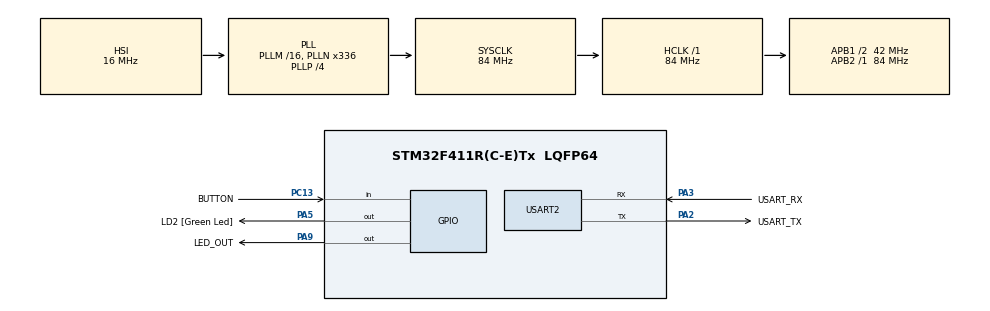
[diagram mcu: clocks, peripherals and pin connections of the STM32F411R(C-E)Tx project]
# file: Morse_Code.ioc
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FREERTOS.BinarySemaphores01=BinSem,Dynamic,NULL
FREERTOS.Queues01=queue1,16,uint16_t,0,Dynamic,NULL,NULL;queue2_1,16,uint16_t,0,Dynamic,NULL,NULL;queue2_2,16,uint16_t,0,Dynamic,NULL,NULL
FREERTOS.Tasks01=task1,24,128,StartTask1,Default,NULL,Dynamic,NULL,NULL;task2,24,128,StartTask2,Default,NULL,Dynamic,NULL,NULL;task3,24,128,StartTask3,Default,NULL,Dynamic,NULL,NULL;task4,24,128,StartTask4,Default,NULL,Dynamic,NULL,NULL
Mcu.Family=STM32F4
Mcu.Name=STM32F411R(C-E)Tx
Mcu.Package=LQFP64
NVIC.PriorityGroup=NVIC_PRIORITYGROUP_4
NVIC.TIM5_IRQn=true\:15\:0\:false\:false\:true\:false\:false\:true\:true
NVIC.TimeBase=TIM5_IRQn
NVIC.TimeBaseIP=TIM5
PA13.GPIO_Label=TMS
PA13.Mode=Serial_Wire
PA13.Signal=SYS_JTMS-SWDIO
PA14.GPIO_Label=TCK
PA14.Mode=Serial_Wire
PA14.Signal=SYS_JTCK-SWCLK
PA2.GPIO_Label=USART_TX
PA2.Mode=Asynchronous
PA2.Signal=USART2_TX
PA3.GPIO_Label=USART_RX
PA3.Mode=Asynchronous
PA3.Signal=USART2_RX
PA5.GPIO_Label=LD2 [Green Led]
PA5.Signal=GPIO_Output
PA9.GPIO_Label=LED_OUT
PA9.Signal=GPIO_Output
PB3.GPIO_Label=SWO
PB3.Signal=SYS_JTDO-SWO
PC13-ANTI_TAMP.GPIO_Label=BUTTON
PC13-ANTI_TAMP.Signal=GPIO_Input
PC14-OSC32_IN.Mode=LSE-External-Oscillator
PC14-OSC32_IN.Signal=RCC_OSC32_IN
PC15-OSC32_OUT.Mode=LSE-External-Oscillator
PC15-OSC32_OUT.Signal=RCC_OSC32_OUT
PH0\ -\ OSC_IN.Mode=HSE-External-Clock-Source
PH0\ -\ OSC_IN.Signal=RCC_OSC_IN
PH1\ -\ OSC_OUT.Mode=HSE-External-Clock-Source
PH1\ -\ OSC_OUT.Signal=RCC_OSC_OUT
ProjectManager.HeapSize=0x200
ProjectManager.StackSize=0x400
ProjectManager.TargetToolchain=STM32CubeIDE
RCC.48MHZClocksFreq_Value=84000000
RCC.AHBFreq_Value=84000000
RCC.APB1CLKDivider=RCC_HCLK_DIV2
RCC.APB1Freq_Value=42000000
RCC.APB1TimFreq_Value=84000000
RCC.APB2Freq_Value=84000000
RCC.APB2TimFreq_Value=84000000
RCC.CortexFreq_Value=84000000
RCC.FLatency-AdvancedSettings=FLASH_LATENCY_2
RCC.HCLKFreq_Value=84000000
RCC.HSE_VALUE=8000000
RCC.HSI_VALUE=16000000
RCC.PLLN=336
RCC.PLLP=RCC_PLLP_DIV4
RCC.SYSCLKFreq_VALUE=84000000
RCC.SYSCLKSource=RCC_SYSCLKSOURCE_PLLCLK
RCC.VCOOutputFreq_Value=336000000
USART2.VirtualMode=VM_ASYNC
VP_FREERTOS_VS_CMSIS_V2.Mode=CMSIS_V2
VP_SYS_VS_tim5.Mode=TIM5
board=NUCLEO-F411RE

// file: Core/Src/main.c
/* USER CODE BEGIN Header */
/**
  ******************************************************************************
  * @file           : main.c
  * @brief          : Main program body
  ******************************************************************************
  * @attention
  *
  * Copyright (c) 2023 STMicroelectronics.
  * All rights reserved.
  *
  * This software is licensed under terms that can be found in the LICENSE file
  * in the root directory of this software component.
  * If no LICENSE file comes with this software, it is provided AS-IS.
  *
  ******************************************************************************
  */
/* USER CODE END Header */
#include "main.h"
#include "cmsis_os.h"

/* USER CODE BEGIN PD */
#define ARRLENGTH		5
#define SIG_DOT 		1000
#define SIG_DASH 		3000
#define SAME_LETTER		1000
#define LETTER_SPACE 	3000
#define SPACE_CHAR		7000
/* USER CODE END PD */

UART_HandleTypeDef huart2;

/* Definitions for task1 */
osThreadId_t task1Handle;
const osThreadAttr_t task1_attributes = {
  .name = "task1",
  .stack_size = 128 * 4,
  .priority = (osPriority_t) osPriorityNormal,
};
/* Definitions for task2 */
osThreadId_t task2Handle;
const osThreadAttr_t task2_attributes = {
  .name = "task2",
  .stack_size = 128 * 4,
  .priority = (osPriority_t) osPriorityNormal,
};
/* Definitions for task3 */
osThreadId_t task3Handle;
const osThreadAttr_t task3_attributes = {
  .name = "task3",
  .stack_size = 128 * 4,
  .priority = (osPriority_t) osPriorityNormal,
};
/* Definitions for task4 */
osThreadId_t task4Handle;
const osThreadAttr_t task4_attributes = {
  .name = "task4",
  .stack_size = 128 * 4,
  .priority = (osPriority_t) osPriorityNormal,
};
/* Definitions for queue1 */
osMessageQueueId_t queue1Handle;
const osMessageQueueAttr_t queue1_attributes = {
  .name = "queue1"
};
/* Definitions for queue2_1 */
osMessageQueueId_t queue2_1Handle;
const osMessageQueueAttr_t queue2_1_attributes = {
  .name = "queue2_1"
};
/* Definitions for queue2_2 */
osMessageQueueId_t queue2_2Handle;
const osMessageQueueAttr_t queue2_2_attributes = {
  .name = "queue2_2"
};
/* Definitions for BinSem */
osSemaphoreId_t BinSemHandle;
const osSemaphoreAttr_t BinSem_attributes = {
  .name = "BinSem"
};

void SystemClock_Config(void);
static void MX_GPIO_Init(void);
static void MX_USART2_UART_Init(void);
void StartTask1(void *argument);
void StartTask2(void *argument);
void StartTask3(void *argument);
void StartTask4(void *argument);

/* USER CODE BEGIN 0 */
typedef struct {
    char morse[ARRLENGTH];
    char character;
} Morse;

static const Morse morseTable[] = {
    { ".-", 	'A' },
    { "-...", 	'B' },
    { "-.-.", 	'C' },
    { "-..", 	'D' },
    { ".", 		'E' },
    { "..-.", 	'F' },
    { "--.", 	'G' },
    { "....", 	'H' },
    { "..", 	'I' },
    { ".---", 	'J' },
    { "-.-", 	'K' },
    { ".-..", 	'L' },
    { "--", 	'M' },
    { "-.", 	'N' },
    { "---", 	'O' },
    { ".--.", 	'P' },
    { "--.-", 	'Q' },
    { ".-.", 	'R' },
    { "...", 	'S' },
    { "-", 		'T' },
    { "..-", 	'U' },
    { "...-", 	'V' },
    { ".--", 	'W' },
    { "-..-", 	'X' },
    { "-.--", 	'Y' },
    { "--..", 	'Z' },
};

typedef enum {
	DOT,
	DASH,
	SPACE,
	FINISH,
	EMPTY
} Code;
/* USER CODE END 0 */

int main(void)
{

  /* MCU Configuration--------------------------------------------------------*/

  /* Reset of all peripherals, Initializes the Flash interface and the Systick. */
  HAL_Init();

  /* Configure the system clock */
  SystemClock_Config();

  /* Initialize all configured peripherals */
  MX_GPIO_Init();
  MX_USART2_UART_Init();

  /* Init scheduler */
  osKernelInitialize();

  /* Create the semaphores(s) */
  /* creation of BinSem */
  BinSemHandle = osSemaphoreNew(1, 1, &BinSem_attributes);
  osSemaphoreAcquire(BinSemHandle, osWaitForever);

  /* Create the queue(s) */
  /* creation of queue1 */
  queue1Handle = osMessageQueueNew (16, sizeof(uint16_t), &queue1_attributes);

  /* creation of queue2_1 */
  queue2_1Handle = osMessageQueueNew (16, sizeof(uint16_t), &queue2_1_attributes);

  /* creation of queue2_2 */
  queue2_2Handle = osMessageQueueNew (16, sizeof(uint16_t), &queue2_2_attributes);

  /* Create the thread(s) */
  /* creation of task1 */
  task1Handle = osThreadNew(StartTask1, NULL, &task1_attributes);

  /* creation of task2 */
  task2Handle = osThreadNew(StartTask2, NULL, &task2_attributes);

  /* creation of task3 */
  task3Handle = osThreadNew(StartTask3, NULL, &task3_attributes);

  /* creation of task4 */
  task4Handle = osThreadNew(StartTask4, NULL, &task4_attributes);

  /* Start scheduler */
  osKernelStart();
  /* We should never get here as control is now taken by the scheduler */
  /* Infinite loop */
  while (1)
  {

  }
}

void SystemClock_Config(void)
{
  RCC_OscInitTypeDef RCC_OscInitStruct = {0};
  RCC_ClkInitTypeDef RCC_ClkInitStruct = {0};

  /** Configure the main internal regulator output voltage
  */
  __HAL_RCC_PWR_CLK_ENABLE();
  __HAL_PWR_VOLTAGESCALING_CONFIG(PWR_REGULATOR_VOLTAGE_SCALE1);

  /** Initializes the RCC Oscillators according to the specified parameters
  * in the RCC_OscInitTypeDef structure.
  */
  RCC_OscInitStruct.OscillatorType = RCC_OSCILLATORTYPE_HSI;
  RCC_OscInitStruct.HSIState = RCC_HSI_ON;
  RCC_OscInitStruct.HSICalibrationValue = RCC_HSICALIBRATION_DEFAULT;
  RCC_OscInitStruct.PLL.PLLState = RCC_PLL_ON;
  RCC_OscInitStruct.PLL.PLLSource = RCC_PLLSOURCE_HSI;
  RCC_OscInitStruct.PLL.PLLM = 16;
  RCC_OscInitStruct.PLL.PLLN = 336;
  RCC_OscInitStruct.PLL.PLLP = RCC_PLLP_DIV4;
  RCC_OscInitStruct.PLL.PLLQ = 4;
  if (HAL_RCC_OscConfig(&RCC_OscInitStruct) != HAL_OK)
  {
    Error_Handler();
  }

  /** Initializes the CPU, AHB and APB buses clocks
  */
  RCC_ClkInitStruct.ClockType = RCC_CLOCKTYPE_HCLK|RCC_CLOCKTYPE_SYSCLK
                              |RCC_CLOCKTYPE_PCLK1|RCC_CLOCKTYPE_PCLK2;
  RCC_ClkInitStruct.SYSCLKSource = RCC_SYSCLKSOURCE_PLLCLK;
  RCC_ClkInitStruct.AHBCLKDivider = RCC_SYSCLK_DIV1;
  RCC_ClkInitStruct.APB1CLKDivider = RCC_HCLK_DIV2;
  RCC_ClkInitStruct.APB2CLKDivider = RCC_HCLK_DIV1;

  if (HAL_RCC_ClockConfig(&RCC_ClkInitStruct, FLASH_LATENCY_2) != HAL_OK)
  {
    Error_Handler();
  }
}

static void MX_USART2_UART_Init(void)
{

  huart2.Instance = USART2;
  huart2.Init.BaudRate = 115200;
  huart2.Init.WordLength = UART_WORDLENGTH_8B;
  huart2.Init.StopBits = UART_STOPBITS_1;
  huart2.Init.Parity = UART_PARITY_NONE;
  huart2.Init.Mode = UART_MODE_TX_RX;
  huart2.Init.HwFlowCtl = UART_HWCONTROL_NONE;
  huart2.Init.OverSampling = UART_OVERSAMPLING_16;
  if (HAL_UART_Init(&huart2) != HAL_OK)
  {
    Error_Handler();
  }

}

static void MX_GPIO_Init(void)
{
  GPIO_InitTypeDef GPIO_InitStruct = {0};

  /* GPIO Ports Clock Enable */
  __HAL_RCC_GPIOC_CLK_ENABLE();
  __HAL_RCC_GPIOH_CLK_ENABLE();
  __HAL_RCC_GPIOA_CLK_ENABLE();
  __HAL_RCC_GPIOB_CLK_ENABLE();

  /*Configure GPIO pin Output Level */
  HAL_GPIO_WritePin(GPIOA, LD2_Pin|LED_OUT_Pin, GPIO_PIN_RESET);

  /*Configure GPIO pin : BUTTON_Pin */
  GPIO_InitStruct.Pin = BUTTON_Pin;
  GPIO_InitStruct.Mode = GPIO_MODE_INPUT;
  GPIO_InitStruct.Pull = GPIO_NOPULL;
  HAL_GPIO_Init(BUTTON_GPIO_Port, &GPIO_InitStruct);

  /*Configure GPIO pins : LD2_Pin LED_OUT_Pin */
  GPIO_InitStruct.Pin = LD2_Pin|LED_OUT_Pin;
  GPIO_InitStruct.Mode = GPIO_MODE_OUTPUT_PP;
  GPIO_InitStruct.Pull = GPIO_NOPULL;
  GPIO_InitStruct.Speed = GPIO_SPEED_FREQ_LOW;
  HAL_GPIO_Init(GPIOA, &GPIO_InitStruct);

}

/* USER CODE BEGIN 4 */
char char_buf[ARRLENGTH] = {'\0'};//init char array for comparing against morse array

/* function to compare arrays char_buf and morse char array */
int CompareArrays(char arr1[], char arr2[]) {
	int check = 0;
	for (int i = 0; i < ARRLENGTH; i++) {
		if (arr1[i] == arr2[i]) {
			check = 1;
		} else {
			check = 0;
			break;
		}
	}
	return check;
}
/* USER CODE END 4 */

void StartTask1(void *argument)
{
  /* USER CODE BEGIN 5 */

	/* newline on every start up */
	uint8_t* reset = "\n\r";
	HAL_UART_Transmit(&huart2, reset, sizeof(reset), 100);

	int press = 0; //time at press
	int release = 0; //time at release
	int done = 0; //flag for if finish state has been sent
	int space = 0; //flag for if a space has already been sent
	uint8_t buttonPress = 0; //flag for if button is currently being pressed
	Code state;	//init state to pass on

  /* Infinite loop */
  for(;;)
  {
	  	 if (HAL_GPIO_ReadPin(BUTTON_GPIO_Port, BUTTON_Pin) == 0) {
	  		 if (buttonPress == 0) {
				 /* start 'timer' on button press */
				 press = HAL_GetTick();
				 buttonPress = 1;
				 done = 0;
				 space = 0;
	  		 }
	  	 } else if (HAL_GPIO_ReadPin(BUTTON_GPIO_Port, BUTTON_Pin) == 1) {
	  		 if (buttonPress == 1) {
	  			/* if button released, send to queue when signal done */
				 release = HAL_GetTick();

				 int pressTime = release - press;

				 if (pressTime < SIG_DOT) {
					 state = DOT;
				 }	else {
					 state = DASH;
				 }
				osMessageQueuePut(queue1Handle, &state, 0, 0);
				buttonPress = 0; //reset button press
	  		 } else {

	  			/* if button has not been pressed yet don't start counting pause */
				 if(press == 0) { //first press control
					 osDelay(50);
					 continue;
				 }

				 /* determine how long the pause is */
				 int timeNow = HAL_GetTick();

				 /* if finish signal hasn't been sent yet */
				 if (done == 0) {
					 /* checking if enough time has passed to sent finish state */
					 if  (release + LETTER_SPACE <= timeNow) {
							state = FINISH;
							done = 1; //make sure finish isn't sent constantly
							osMessageQueuePut(queue1Handle, &state, 0, 0);
					 }
				 } else { //if finish signal has been sent
					 /* if space character hasnt been sent */
					 if (space == 0) {
						 /* checking if enough time has passed to sent space state */
						 if (release + SPACE_CHAR <= timeNow){
						 	state = SPACE;
						 	space = 1; //make sure space isn't sent constantly
						 	osMessageQueuePut(queue1Handle, &state, 0, 0);
						 }
					 }
				 }
	  		 }

	  	 }
	  	 osDelay(100);
  }
  /* USER CODE END 5 */
}

void StartTask2(void *argument)
{
  /* USER CODE BEGIN StartTask2 */
	Code state;
	osStatus_t status; //has message been received from queue
  /* Infinite loop */
  for(;;)
  {
	  status = osMessageQueueGet(queue1Handle, &state, NULL, 0);
	  /* if message has been received from queue */
	  if (status == osOK) {
		  /* LED blink */
		  if (state == DOT) {
			  HAL_GPIO_WritePin(GPIOA, LD2_Pin, GPIO_PIN_SET);
			  HAL_Delay(1000);
			  HAL_GPIO_WritePin(GPIOA, LD2_Pin, GPIO_PIN_RESET);
			  HAL_Delay(1000);
		  } else if (state == DASH) {
			  HAL_GPIO_WritePin(GPIOA, LD2_Pin, GPIO_PIN_SET);
			  HAL_Delay(3000);
			  HAL_GPIO_WritePin(GPIOA, LD2_Pin, GPIO_PIN_RESET);
			  HAL_Delay(1000);
		  }
		  /* give to queue 2.1 and 2.2 */
		  osMessageQueuePut(queue2_1Handle, &state, 0, 0);
		  osMessageQueuePut(queue2_2Handle, &state, 0, 0);
	  }
  }
  /* USER CODE END StartTask2 */
}

void StartTask3(void *argument)
{
  /* USER CODE BEGIN StartTask3 */
	char transmit[1] = {'\0'};
	int index = 0;
	Code state;
	osStatus_t status;
  /* Infinite loop */
  for(;;)
  {
	  status = osMessageQueueGet(queue2_1Handle, &state, NULL, 0);
	  /* if message has been received from queue */
	  if (status == osOK) {
		  /* if too many button presses have happened try to print */
		  if (index >= ARRLENGTH) {
			  char_buf[index] = '\0';
			  state = FINISH;
		  }
		  if (state == DOT) {
			  char_buf[index] = '.'; //put dot in char array
			  index++;
		  } else if (state == DASH) { //put dash in char array
			  char_buf[index] = '-';
			  index++;
		  } else if (state == SPACE) { //print space onto console
			  transmit[0] = ' ';
			  HAL_UART_Transmit(&huart2, transmit, sizeof(transmit), 100);
		  } else if (state == FINISH) {
			  /* find matching morse character */
			  for (int i = 0; morseTable[i].morse != NULL; i++) {
				if (CompareArrays(char_buf, morseTable[i].morse) == 1) {
				    transmit[0] = morseTable[i].character;	//put character on console
					HAL_UART_Transmit(&huart2, transmit, sizeof(transmit), 100);
					memset(char_buf, '\0', ARRLENGTH*sizeof(char));	//reset for next letter
					index = 0;
					state = EMPTY;
					break;
				}
			  }
			  osSemaphoreRelease(BinSemHandle); //release for task 4
		  }
	  }
  /* USER CODE END StartTask3 */
  }
}

void StartTask4(void *argument)
{
  /* USER CODE BEGIN StartTask4 */
	Code state;
	osStatus_t status;
  /* Infinite loop */
  for(;;)
  {
	  osSemaphoreAcquire(BinSemHandle, osWaitForever);
	  status = osMessageQueueGet(queue2_2Handle, &state, NULL, 0);
	  /* if message has been received from queue */
	  if (status == osOK) {
		  /* run through queue and play character */
		  if (state == DOT) {
			HAL_GPIO_WritePin(GPIOA, LD2_Pin, GPIO_PIN_SET);
			HAL_Delay(SIG_DOT);
			HAL_GPIO_WritePin(GPIOA, LD2_Pin, GPIO_PIN_RESET);
			HAL_Delay(SAME_LETTER);
		  } else if (state == DASH) {
			HAL_GPIO_WritePin(GPIOA, LD2_Pin, GPIO_PIN_SET);
			HAL_Delay(SIG_DASH);
			HAL_GPIO_WritePin(GPIOA, LD2_Pin, GPIO_PIN_RESET);
			HAL_Delay(SAME_LETTER);
		  }
		  /* if user isnt finished, dont stop */
		  if (state != FINISH) {
			  osSemaphoreRelease(BinSemHandle);
		  }
	  }
  }
  /* USER CODE END StartTask4 */
}

void HAL_TIM_PeriodElapsedCallback(TIM_HandleTypeDef *htim)
{
  if (htim->Instance == TIM5) {
    HAL_IncTick();
  }
}

void Error_Handler(void)
{
  __disable_irq();
  while (1)
  {
  }
}
